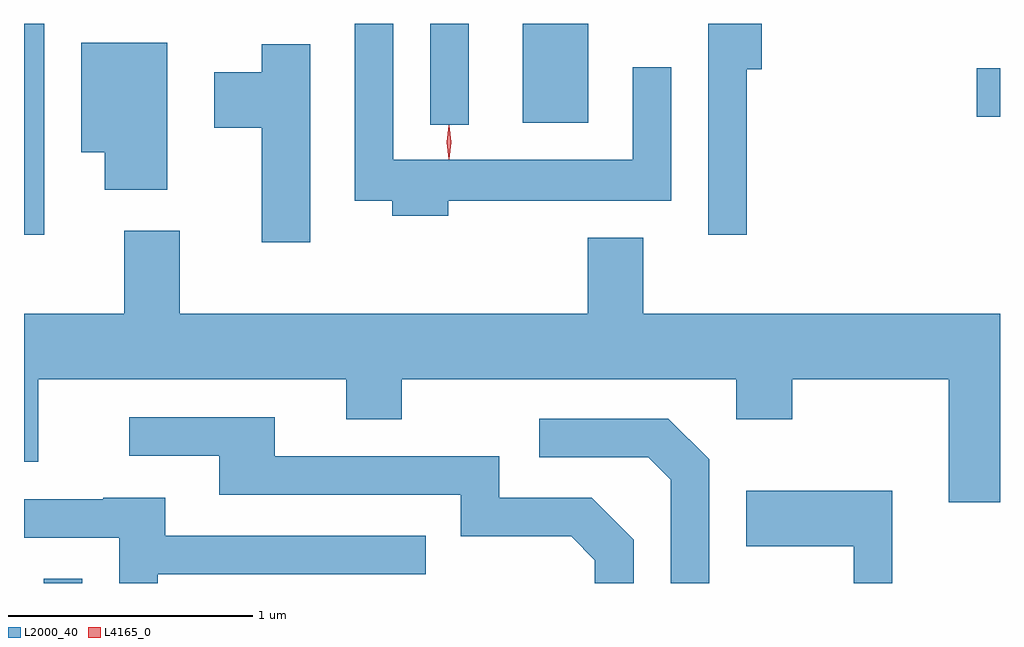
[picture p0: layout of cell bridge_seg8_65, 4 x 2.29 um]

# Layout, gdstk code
import gdstk
lib = gdstk.Library(unit=1e-6, precision=1e-09)
def R(c, l, rs):  # rectangles x0, y0, x1, y1
    for r in rs: c.add(gdstk.rectangle(r[:2], r[2:], *l))
def P(c, l, *ps):  # polygons
    for p in ps: c.add(gdstk.Polygon(p, *l))
L2000_40 = (2000, 40)
L4165_0 = (4165, 0)

bridge_seg8_65 = lib.new_cell('bridge_seg8_65')
R(bridge_seg8_65, L2000_40, [(1461.301,1942.139,1461.459,1942.158), (1461.221,1943.568,1461.304,1944.432), (1462.886,1944.018,1463.044,1944.432), (1463.266,1944.026,1463.534,1944.432), (1465.126,1944.051,1465.221,1944.249)])
P(bridge_seg8_65, L2000_40, [(1464.184,1944.246),(1464.244,1944.246),(1464.244,1944.432),(1464.026,1944.432),(1464.026,1943.568),(1464.184,1943.568)],
  [(1462.959,1943.706),(1463.874,1943.706),(1463.874,1944.253),(1463.716,1944.253),(1463.716,1943.874),(1462.734,1943.874),(1462.734,1944.432),(1462.576,1944.432),(1462.576,1943.706),(1462.731,1943.706),(1462.731,1943.646),(1462.959,1943.646)],
  [(1461.809,1944.354),(1461.456,1944.354),(1461.456,1943.906),(1461.551,1943.906),(1461.551,1943.751),(1461.809,1943.751)],
  [(1462.394,1944.349),(1462.196,1944.349),(1462.196,1944.234),(1462.001,1944.234),(1462.001,1944.006),(1462.196,1944.006),(1462.196,1943.536),(1462.394,1943.536)],
  [(1465.221,1943.244),(1463.759,1943.244),(1463.759,1943.554),(1463.531,1943.554),(1463.531,1943.244),(1461.859,1943.244),(1461.859,1943.584),(1461.631,1943.584),(1461.631,1943.244),(1461.221,1943.244),(1461.221,1942.636),(1461.279,1942.636),(1461.279,1942.976),(1462.541,1942.976),(1462.541,1942.811),(1462.769,1942.811),(1462.769,1942.976),(1464.141,1942.976),(1464.141,1942.811),(1464.369,1942.811),(1464.369,1942.976),(1465.011,1942.976),(1465.011,1942.471),(1465.221,1942.471)],
  [(1463.719,1942.317),(1463.547,1942.489),(1463.169,1942.489),(1463.169,1942.659),(1462.249,1942.659),(1462.249,1942.819),(1461.653,1942.819),(1461.653,1942.661),(1462.021,1942.661),(1462.021,1942.501),(1463.011,1942.501),(1463.011,1942.331),(1463.464,1942.331),(1463.561,1942.234),(1463.561,1942.139),(1463.719,1942.139)],
  [(1464.029,1942.647),(1463.862,1942.814),(1463.333,1942.814),(1463.333,1942.656),(1463.779,1942.656),(1463.871,1942.564),(1463.871,1942.139),(1464.029,1942.139)],
  [(1464.779,1942.519),(1464.181,1942.519),(1464.181,1942.291),(1464.621,1942.291),(1464.621,1942.139),(1464.779,1942.139)],
  [(1461.769,1942.176),(1462.868,1942.176),(1462.868,1942.334),(1461.799,1942.334),(1461.799,1942.489),(1461.545,1942.489),(1461.545,1942.484),(1461.221,1942.484),(1461.221,1942.326),(1461.611,1942.326),(1461.611,1942.139),(1461.769,1942.139)])
P(bridge_seg8_65, L4165_0, [(1462.962,1943.877),(1462.953,1943.947),(1462.962,1944.016),(1462.963,1944.016),(1462.963,1944.016),(1462.973,1943.947),(1462.963,1943.877),(1462.963,1943.877)])

lib.write_gds('bridge_seg8_65.gds')
